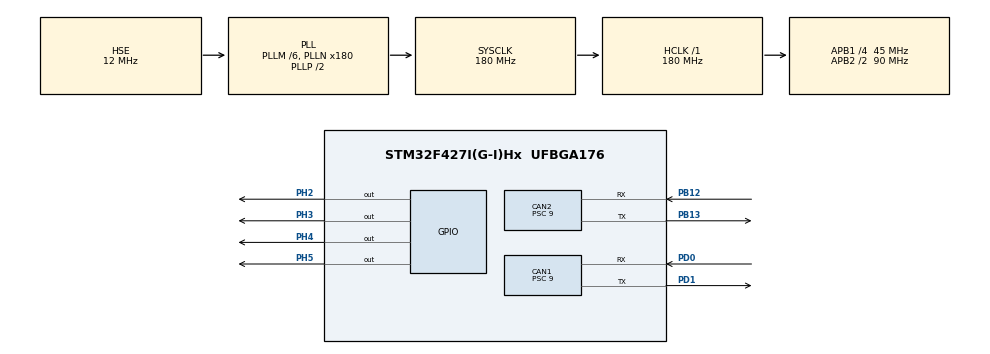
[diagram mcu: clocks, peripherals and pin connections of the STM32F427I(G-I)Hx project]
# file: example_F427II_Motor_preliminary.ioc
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CAN1.BS1=CAN_BS1_2TQ
CAN1.BS2=CAN_BS2_2TQ
CAN1.CalculateBaudRate=1000000
CAN1.CalculateTimeBit=1000
CAN1.CalculateTimeQuantum=200.0
CAN1.Prescaler=9
CAN2.BS1=CAN_BS1_2TQ
CAN2.BS2=CAN_BS2_2TQ
CAN2.CalculateBaudRate=1000000
CAN2.CalculateTimeBit=1000
CAN2.CalculateTimeQuantum=200.0
CAN2.Prescaler=9
Mcu.Family=STM32F4
Mcu.Name=STM32F427I(G-I)Hx
Mcu.Package=UFBGA176
NVIC.PriorityGroup=NVIC_PRIORITYGROUP_4
PA13.Mode=Serial_Wire
PA13.Signal=SYS_JTMS-SWDIO
PA14.Mode=Serial_Wire
PA14.Signal=SYS_JTCK-SWCLK
PB12.Mode=CAN_Activate
PB12.Signal=CAN2_RX
PB13.Mode=CAN_Activate
PB13.Signal=CAN2_TX
PD0.Mode=CAN_Activate
PD0.Signal=CAN1_RX
PD1.Mode=CAN_Activate
PD1.Signal=CAN1_TX
PH0/OSC_IN.Mode=HSE-External-Oscillator
PH0/OSC_IN.Signal=RCC_OSC_IN
PH1/OSC_OUT.Mode=HSE-External-Oscillator
PH1/OSC_OUT.Signal=RCC_OSC_OUT
PH2.GPIO_PuPd=GPIO_PULLUP
PH2.Signal=GPIO_Output
PH3.GPIO_PuPd=GPIO_PULLUP
PH3.Signal=GPIO_Output
PH4.GPIO_PuPd=GPIO_PULLUP
PH4.Signal=GPIO_Output
PH5.GPIO_PuPd=GPIO_PULLUP
PH5.Signal=GPIO_Output
ProjectManager.HeapSize=0x200
ProjectManager.StackSize=0x400
ProjectManager.TargetToolchain=CMake
RCC.48MHZClocksFreq_Value=90000000
RCC.AHBFreq_Value=180000000
RCC.APB1CLKDivider=RCC_HCLK_DIV4
RCC.APB1Freq_Value=45000000
RCC.APB1TimFreq_Value=90000000
RCC.APB2CLKDivider=RCC_HCLK_DIV2
RCC.APB2Freq_Value=90000000
RCC.APB2TimFreq_Value=180000000
RCC.CortexFreq_Value=180000000
RCC.HCLKFreq_Value=180000000
RCC.HSE_VALUE=12000000
RCC.HSI_VALUE=16000000
RCC.LSE_VALUE=32768
RCC.PLLM=6
RCC.PLLN=180
RCC.PLLSourceVirtual=RCC_PLLSOURCE_HSE
RCC.SYSCLKFreq_VALUE=180000000
RCC.SYSCLKSource=RCC_SYSCLKSOURCE_PLLCLK
RCC.VCOOutputFreq_Value=360000000
board=custom

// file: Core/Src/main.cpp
/* USER CODE BEGIN Header */
/**
  ******************************************************************************
  * @file           : main.c
  * @brief          : Main program body
  ******************************************************************************
  * @attention
  *
  * Copyright (c) 2026 STMicroelectronics.
  * All rights reserved.
  *
  * This software is licensed under terms that can be found in the LICENSE file
  * in the root directory of this software component.
  * If no LICENSE file comes with this software, it is provided AS-IS.
  *
  ******************************************************************************
  */
/* USER CODE END Header */
#include "main.h"
#include "can.h"
#include "gpio.h"

/* USER CODE BEGIN Includes */
#include "drv_bsp.h"
#include "drv_can.h"
/* USER CODE END Includes */

void SystemClock_Config(void);

/* USER CODE BEGIN 0 */
/**
 * @brief 空回调函数
 * * @param Rx_Buffer CAN接收的信息结构体
 */
void NULL_Call_Back(struct Struct_CAN_Rx_Buffer *Rx_Buffer)
{

}
/* USER CODE END 0 */

int main(void)
{

  /* MCU Configuration--------------------------------------------------------*/

  /* Reset of all peripherals, Initializes the Flash interface and the Systick. */
  HAL_Init();

  /* Configure the system clock */
  SystemClock_Config();

  /* Initialize all configured peripherals */
  MX_GPIO_Init();
  MX_CAN1_Init();
  MX_CAN2_Init();
  /* USER CODE BEGIN 2 */
  BSP_Init(BSP_DC24_LD_ON);
  CAN_Init(&hcan1, NULL_Call_Back);
  /* USER CODE END 2 */

  /* Infinite loop */
  /* USER CODE BEGIN WHILE */
  int16_t cur = 0;
  while (1)
  {
    while (cur < 16384)
    {
      cur += (0.1f * 16384); // 每次增加 10%
      CAN1_0x200_Tx_Data[0] = cur >> 8;
      CAN1_0x200_Tx_Data[1] = cur & 0xFF;
      CAN_Send_Data(&hcan1, 0x200, CAN1_0x200_Tx_Data, 8);
      HAL_Delay(50);
    }
    while (cur > -16384)
    {
      cur -= (0.1f * 16384);
      CAN1_0x200_Tx_Data[0] = cur >> 8;
      CAN1_0x200_Tx_Data[1] = cur & 0xFF;
      CAN_Send_Data(&hcan1, 0x200, CAN1_0x200_Tx_Data, 8);
      HAL_Delay(50);
    }
    /* USER CODE END WHILE */

  }
}

void SystemClock_Config(void)
{
  RCC_OscInitTypeDef RCC_OscInitStruct = {0};
  RCC_ClkInitTypeDef RCC_ClkInitStruct = {0};

  /** Configure the main internal regulator output voltage
  */
  __HAL_RCC_PWR_CLK_ENABLE();
  __HAL_PWR_VOLTAGESCALING_CONFIG(PWR_REGULATOR_VOLTAGE_SCALE1);

  /** Initializes the RCC Oscillators according to the specified parameters
  * in the RCC_OscInitTypeDef structure.
  */
  RCC_OscInitStruct.OscillatorType = RCC_OSCILLATORTYPE_HSE;
  RCC_OscInitStruct.HSEState = RCC_HSE_ON;
  RCC_OscInitStruct.PLL.PLLState = RCC_PLL_ON;
  RCC_OscInitStruct.PLL.PLLSource = RCC_PLLSOURCE_HSE;
  RCC_OscInitStruct.PLL.PLLM = 6;
  RCC_OscInitStruct.PLL.PLLN = 180;
  RCC_OscInitStruct.PLL.PLLP = RCC_PLLP_DIV2;
  RCC_OscInitStruct.PLL.PLLQ = 4;
  if (HAL_RCC_OscConfig(&RCC_OscInitStruct) != HAL_OK)
  {
    Error_Handler();
  }

  /** Activate the Over-Drive mode
  */
  if (HAL_PWREx_EnableOverDrive() != HAL_OK)
  {
    Error_Handler();
  }

  /** Initializes the CPU, AHB and APB buses clocks
  */
  RCC_ClkInitStruct.ClockType = RCC_CLOCKTYPE_HCLK|RCC_CLOCKTYPE_SYSCLK
                              |RCC_CLOCKTYPE_PCLK1|RCC_CLOCKTYPE_PCLK2;
  RCC_ClkInitStruct.SYSCLKSource = RCC_SYSCLKSOURCE_PLLCLK;
  RCC_ClkInitStruct.AHBCLKDivider = RCC_SYSCLK_DIV1;
  RCC_ClkInitStruct.APB1CLKDivider = RCC_HCLK_DIV4;
  RCC_ClkInitStruct.APB2CLKDivider = RCC_HCLK_DIV2;

  if (HAL_RCC_ClockConfig(&RCC_ClkInitStruct, FLASH_LATENCY_5) != HAL_OK)
  {
    Error_Handler();
  }
}

void Error_Handler(void)
{
  __disable_irq();
  while (1)
  {
  }
}
